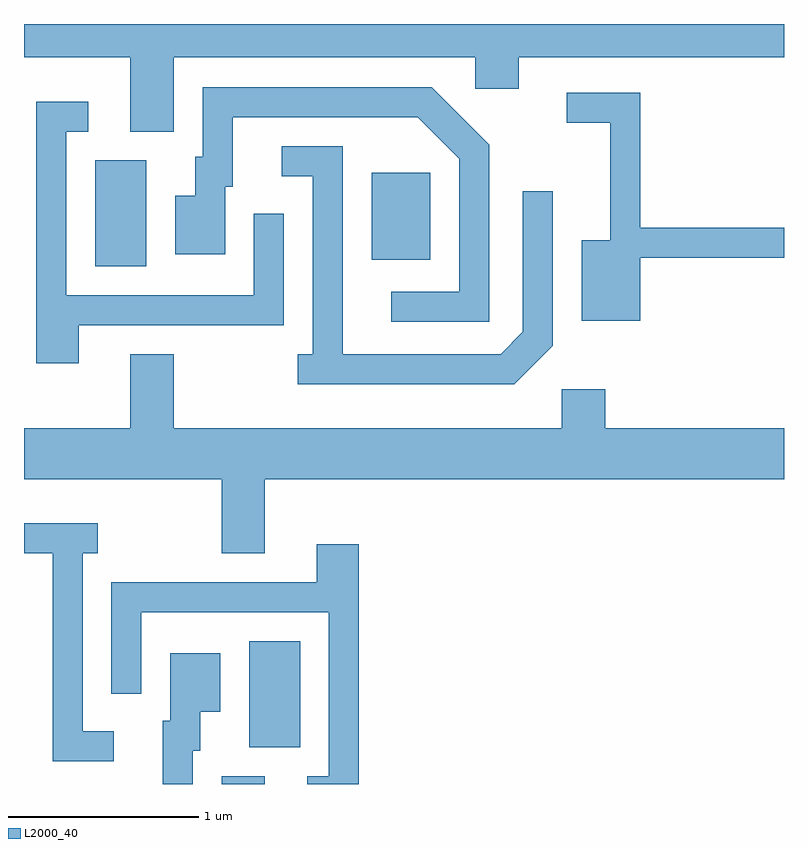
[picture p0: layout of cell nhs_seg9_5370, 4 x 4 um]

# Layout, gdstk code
import gdstk
lib = gdstk.Library(unit=1e-6, precision=1e-09)
def R(c, l, rs):  # rectangles x0, y0, x1, y1
    for r in rs: c.add(gdstk.rectangle(r[:2], r[2:], *l))
def P(c, l, *ps):  # polygons
    for p in ps: c.add(gdstk.Polygon(p, *l))
L2000_40 = (2000, 40)

nhs_seg9_5370 = lib.new_cell('nhs_seg9_5370')
R(nhs_seg9_5370, L2000_40, [(344.651,1992.432,344.879,1992.474), (344.796,1992.626,345.064,1993.184), (343.986,1995.156,344.254,1995.714), (345.441,1995.191,345.749,1995.649)])
P(nhs_seg9_5370, L2000_40, [(344.399,1996.256),(345.986,1996.256),(345.986,1996.091),(346.214,1996.091),(346.214,1996.256),(347.611,1996.256),(347.611,1996.432),(343.611,1996.432),(343.611,1996.256),(344.171,1996.256),(344.171,1995.866),(344.399,1995.866)],
  [(346.059,1995.797),(345.757,1996.099),(344.551,1996.099),(344.551,1995.734),(344.511,1995.734),(344.511,1995.529),(344.406,1995.529),(344.406,1995.221),(344.669,1995.221),(344.669,1995.576),(344.709,1995.576),(344.709,1995.941),(345.684,1995.941),(345.901,1995.724),(345.901,1995.024),(345.543,1995.024),(345.543,1994.866),(346.059,1994.866)],
  [(346.854,1995.201),(347.611,1995.201),(347.611,1995.359),(346.854,1995.359),(346.854,1996.069),(346.468,1996.069),(346.468,1995.911),(346.696,1995.911),(346.696,1995.294),(346.546,1995.294),(346.546,1994.871),(346.854,1994.871)],
  [(343.899,1994.846),(344.979,1994.846),(344.979,1995.433),(344.821,1995.433),(344.821,1995.004),(343.834,1995.004),(343.834,1995.866),(343.948,1995.866),(343.948,1996.024),(343.676,1996.024),(343.676,1994.646),(343.899,1994.646)],
  [(346.394,1994.739),(346.394,1995.553),(346.236,1995.553),(346.236,1994.812),(346.119,1994.694),(345.289,1994.694),(345.289,1995.789),(344.968,1995.789),(344.968,1995.631),(345.131,1995.631),(345.131,1994.694),(345.053,1994.694),(345.053,1994.536),(346.192,1994.536)],
  [(344.879,1994.036),(347.611,1994.036),(347.611,1994.304),(346.669,1994.304),(346.669,1994.509),(346.441,1994.509),(346.441,1994.304),(344.399,1994.304),(344.399,1994.694),(344.171,1994.694),(344.171,1994.304),(343.611,1994.304),(343.611,1994.036),(344.651,1994.036),(344.651,1993.646),(344.879,1993.646)],
  [(344.083,1992.709),(343.919,1992.709),(343.919,1993.646),(343.998,1993.646),(343.998,1993.804),(343.611,1993.804),(343.611,1993.646),(343.761,1993.646),(343.761,1992.551),(344.083,1992.551)],
  [(345.374,1993.694),(345.151,1993.694),(345.151,1993.494),(344.071,1993.494),(344.071,1992.908),(344.229,1992.908),(344.229,1993.336),(345.216,1993.336),(345.216,1992.474),(345.103,1992.474),(345.103,1992.432),(345.374,1992.432)],
  [(344.499,1992.606),(344.539,1992.606),(344.539,1992.811),(344.644,1992.811),(344.644,1993.119),(344.381,1993.119),(344.381,1992.764),(344.341,1992.764),(344.341,1992.432),(344.499,1992.432)])

lib.write_gds('nhs_seg9_5370.gds')
